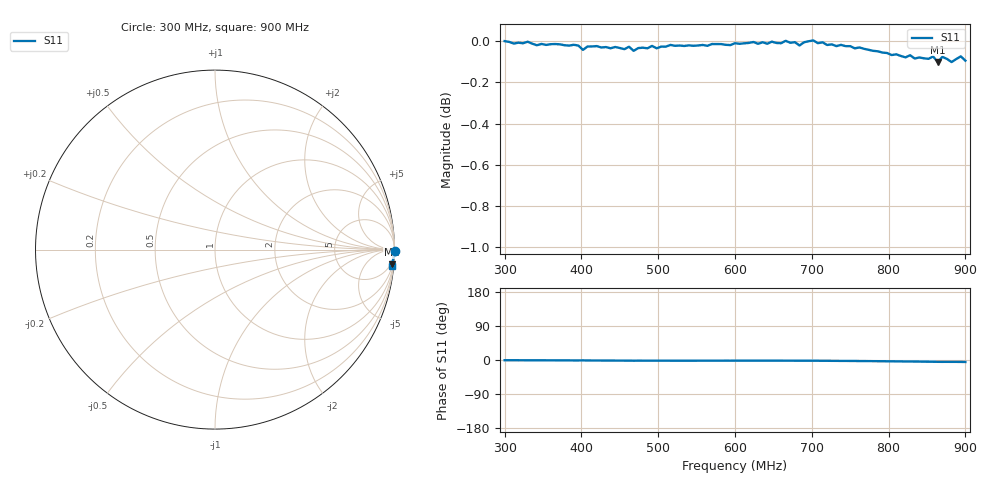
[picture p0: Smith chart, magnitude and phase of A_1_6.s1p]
# HZ S RI R 50
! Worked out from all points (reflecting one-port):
!   101 points, 300 MHz to 900 MHz, reference 50 ohm
!   lowest |S11| = -0.1 dB at 864 MHz (marker M1), VSWR 172.51, Z = 164 - j1.18e+03 ohm
!   phase of S11 starts at -1 deg and turns -5 deg over the sweep
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3e8  1 -0.0104
3.78e8  0.9977 -0.0173
3.96e8  0.9975 -0.0198
4.02e8  0.9951 -0.0172
4.14e8  0.9969 -0.0227
4.5e8  0.9959 -0.0274
4.62e8  0.9966 -0.0283
4.68e8  0.9942 -0.0323
4.74e8  0.9958 -0.0298
5.28e8  0.9972 -0.0323
6e8  0.9985 -0.0297
6.78e8  0.999 -0.0317
6.84e8  0.9972 -0.0322
7.02e8  0.9999 -0.0339
7.08e8  0.9984 -0.0345
7.5e8  0.9964 -0.0436
8.04e8  0.9905 -0.0601
8.22e8  0.9888 -0.0676
8.28e8  0.9899 -0.0682
8.34e8  0.9879 -0.0705
8.58e8  0.9883 -0.0804
8.64e8  0.985 -0.0824
8.7e8  0.9877 -0.0849
8.76e8  0.9867 -0.0836
8.82e8  0.9848 -0.0849
8.88e8  0.9865 -0.0849
8.94e8  0.9878 -0.0877
9e8  0.9851 -0.0902
